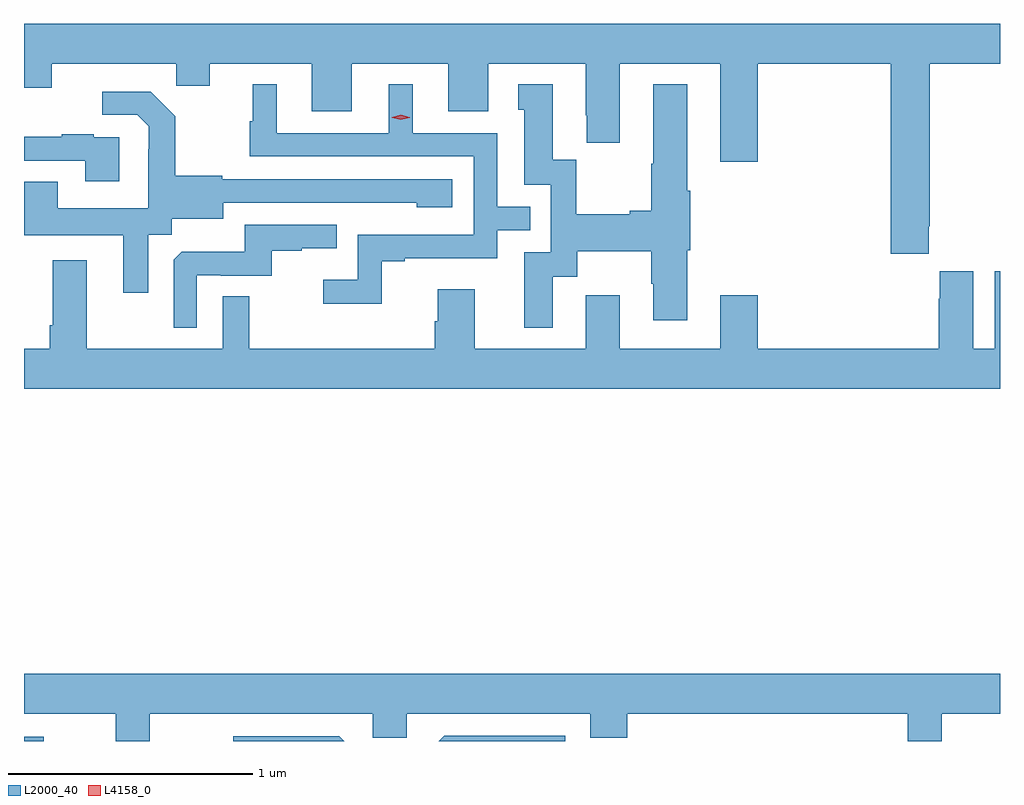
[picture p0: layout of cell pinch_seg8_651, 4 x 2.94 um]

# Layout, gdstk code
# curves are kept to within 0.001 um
import gdstk
lib = gdstk.Library(unit=1e-6, precision=1e-09)
def R(c, l, rs):  # rectangles x0, y0, x1, y1
    for r in rs: c.add(gdstk.rectangle(r[:2], r[2:], *l))
def P(c, l, *ps):  # polygons
    for p in ps: c.add(gdstk.Polygon(p, *l))
L2000_40 = (2000, 40)
L4158_0 = (4158, 0)

pinch_seg8_651 = lib.new_cell('pinch_seg8_651')
R(pinch_seg8_651, L2000_40, [(275.695,1097.739,275.776,1097.757)])
P(pinch_seg8_651, L2000_40, [(279.403,1099.849),(279.408,1099.849),(279.408,1100.516),(279.695,1100.516),(279.695,1100.68),(275.695,1100.68),(275.695,1100.417),(275.809,1100.417),(275.809,1100.516),(276.319,1100.516),(276.319,1100.426),(276.457,1100.426),(276.457,1100.516),(276.875,1100.516),(276.875,1100.322),(277.039,1100.322),(277.039,1100.516),(277.433,1100.516),(277.433,1100.322),(277.597,1100.322),(277.597,1100.516),(277.997,1100.516),(277.997,1100.305),(278.001,1100.305),(278.001,1100.193),(278.137,1100.193),(278.137,1100.516),(278.549,1100.516),(278.549,1100.115),(278.702,1100.115),(278.702,1100.516),(279.248,1100.516),(279.248,1099.737),(279.403,1099.737)],
  [(277.161,1099.707),(277.255,1099.707),(277.255,1099.719),(277.635,1099.719),(277.635,1099.833),(277.769,1099.833),(277.769,1099.929),(277.635,1099.929),(277.635,1100.232),(277.288,1100.232),(277.288,1100.431),(277.19,1100.431),(277.19,1100.232),(276.73,1100.232),(276.73,1100.431),(276.632,1100.431),(276.632,1100.28),(276.621,1100.28),(276.621,1100.136),(277.539,1100.136),(277.539,1099.815),(277.062,1099.815),(277.062,1099.63),(276.921,1099.63),(276.921,1099.532),(277.161,1099.532)],
  [(277.861,1099.642),(277.963,1099.642),(277.963,1099.748),(278.266,1099.748),(278.266,1099.614),(278.273,1099.614),(278.273,1099.464),(278.413,1099.464),(278.413,1099.752),(278.426,1099.752),(278.426,1099.996),(278.413,1099.996),(278.413,1100.431),(278.273,1100.431),(278.273,1100.105),(278.266,1100.105),(278.266,1099.913),(278.177,1099.913),(278.177,1099.9),(277.959,1099.9),(277.959,1100.123),(277.861,1100.123),(277.861,1100.431),(277.721,1100.431),(277.721,1100.328),(277.745,1100.328),(277.745,1100.019),(277.854,1100.019),(277.854,1099.743),(277.745,1099.743),(277.745,1099.434),(277.861,1099.434)],
  [(276.205,1099.816),(276.3,1099.816),(276.3,1099.88),(276.511,1099.88),(276.511,1099.947),(277.305,1099.946),(277.305,1099.928),(277.45,1099.928),(277.45,1100.043),(276.507,1100.043),(276.507,1100.056),(276.315,1100.056),(276.315,1100.301),(276.215,1100.401),(276.015,1100.401),(276.015,1100.307),(276.159,1100.307),(276.206,1100.26),(276.206,1100.165),(276.204,1100.165),(276.204,1099.924),(275.833,1099.924),(275.833,1100.033),(275.695,1100.033),(275.695,1099.814),(276.101,1099.814),(276.101,1099.578),(276.205,1099.578)],
  [(276.085,1100.214),(275.981,1100.214),(275.981,1100.227),(275.849,1100.227),(275.849,1100.216),(275.695,1100.216),(275.695,1100.118),(275.945,1100.118),(275.945,1100.034),(276.085,1100.034)],
  [(276.402,1099.65),(276.502,1099.65),(276.502,1099.647),(276.71,1099.647),(276.71,1099.749),(276.833,1099.749),(276.833,1099.76),(276.977,1099.76),(276.977,1099.857),(276.6,1099.857),(276.6,1099.745),(276.341,1099.745),(276.309,1099.713),(276.309,1099.433),(276.402,1099.433)],
  [(279.695,1099.666),(279.674,1099.666),(279.674,1099.348),(279.586,1099.348),(279.586,1099.666),(279.449,1099.666),(279.449,1099.553),(279.443,1099.553),(279.443,1099.348),(278.702,1099.348),(278.702,1099.567),(278.549,1099.567),(278.549,1099.348),(278.137,1099.348),(278.137,1099.567),(277.997,1099.567),(277.997,1099.348),(277.543,1099.348),(277.543,1099.591),(277.391,1099.591),(277.391,1099.461),(277.379,1099.461),(277.379,1099.348),(276.619,1099.348),(276.619,1099.562),(276.51,1099.562),(276.51,1099.348),(275.953,1099.348),(275.953,1099.711),(275.813,1099.711),(275.813,1099.444),(275.801,1099.444),(275.801,1099.348),(275.695,1099.348),(275.695,1099.184),(279.695,1099.184)],
  [(276.211,1097.852),(277.125,1097.852),(277.125,1097.754),(277.263,1097.754),(277.263,1097.852),(278.015,1097.852),(278.015,1097.753),(278.168,1097.753),(278.168,1097.852),(279.317,1097.852),(279.317,1097.739),(279.457,1097.739),(279.457,1097.852),(279.695,1097.852),(279.695,1098.016),(275.695,1098.016),(275.695,1097.852),(276.071,1097.852),(276.071,1097.739),(276.211,1097.739)],
  [(277.914,1097.761),(277.417,1097.761),(277.395,1097.739),(277.914,1097.739)],
  [(276.987,1097.76),(276.552,1097.76),(276.552,1097.739),(277.008,1097.739)])
P(pinch_seg8_651, L4158_0, [(277.239,1100.286),(277.204,1100.295),(277.203,1100.296),(277.204,1100.296),(277.239,1100.306),(277.275,1100.296),(277.275,1100.296),(277.275,1100.295)])

lib.write_gds('pinch_seg8_651.gds')
